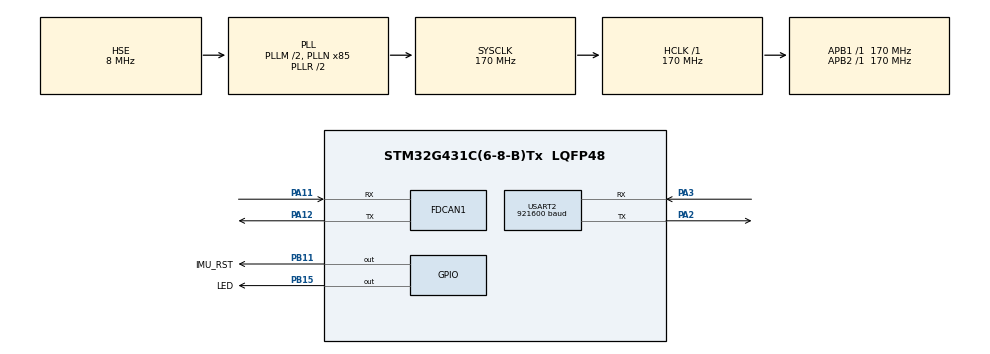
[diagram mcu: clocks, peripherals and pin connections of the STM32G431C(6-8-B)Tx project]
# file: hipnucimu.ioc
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Dma.Request0=USART2_RX
Dma.Request1=USART2_TX
Dma.USART2_RX.0.Direction=DMA_PERIPH_TO_MEMORY
Dma.USART2_RX.0.EventEnable=DISABLE
Dma.USART2_RX.0.Instance=DMA1_Channel1
Dma.USART2_RX.0.MemDataAlignment=DMA_MDATAALIGN_BYTE
Dma.USART2_RX.0.MemInc=DMA_MINC_ENABLE
Dma.USART2_RX.0.Mode=DMA_NORMAL
Dma.USART2_RX.0.PeriphDataAlignment=DMA_PDATAALIGN_BYTE
Dma.USART2_RX.0.PeriphInc=DMA_PINC_DISABLE
Dma.USART2_RX.0.Polarity=HAL_DMAMUX_REQ_GEN_RISING
Dma.USART2_RX.0.Priority=DMA_PRIORITY_VERY_HIGH
Dma.USART2_RX.0.RequestNumber=1
Dma.USART2_RX.0.SignalID=NONE
Dma.USART2_RX.0.SyncEnable=DISABLE
Dma.USART2_RX.0.SyncPolarity=HAL_DMAMUX_SYNC_NO_EVENT
Dma.USART2_RX.0.SyncRequestNumber=1
Dma.USART2_RX.0.SyncSignalID=NONE
Dma.USART2_TX.1.Direction=DMA_MEMORY_TO_PERIPH
Dma.USART2_TX.1.EventEnable=DISABLE
Dma.USART2_TX.1.Instance=DMA1_Channel2
Dma.USART2_TX.1.MemDataAlignment=DMA_MDATAALIGN_BYTE
Dma.USART2_TX.1.MemInc=DMA_MINC_ENABLE
Dma.USART2_TX.1.Mode=DMA_NORMAL
Dma.USART2_TX.1.PeriphDataAlignment=DMA_PDATAALIGN_BYTE
Dma.USART2_TX.1.PeriphInc=DMA_PINC_DISABLE
Dma.USART2_TX.1.Polarity=HAL_DMAMUX_REQ_GEN_RISING
Dma.USART2_TX.1.Priority=DMA_PRIORITY_HIGH
Dma.USART2_TX.1.RequestNumber=1
Dma.USART2_TX.1.SignalID=NONE
Dma.USART2_TX.1.SyncEnable=DISABLE
Dma.USART2_TX.1.SyncPolarity=HAL_DMAMUX_SYNC_NO_EVENT
Dma.USART2_TX.1.SyncRequestNumber=1
Dma.USART2_TX.1.SyncSignalID=NONE
FDCAN1.AutoRetransmission=ENABLE
FDCAN1.CalculateBaudRateNominal=999999
FDCAN1.CalculateTimeBitNominal=1000
FDCAN1.CalculateTimeQuantumNominal=29.411764705882355
FDCAN1.DataPrescaler=5
FDCAN1.DataSyncJumpWidth=8
FDCAN1.DataTimeSeg1=25
FDCAN1.DataTimeSeg2=8
FDCAN1.NominalPrescaler=5
FDCAN1.NominalSyncJumpWidth=8
FDCAN1.NominalTimeSeg1=25
FDCAN1.NominalTimeSeg2=8
FDCAN1.ProtocolException=ENABLE
FDCAN1.StdFiltersNbr=1
Mcu.Family=STM32G4
Mcu.Name=STM32G431C(6-8-B)Tx
Mcu.Package=LQFP48
NVIC.DMA1_Channel1_IRQn=true\:0\:0\:false\:false\:true\:false\:true\:true
NVIC.DMA1_Channel2_IRQn=true\:0\:0\:false\:false\:true\:false\:true\:true
NVIC.FDCAN1_IT0_IRQn=true\:0\:0\:false\:false\:true\:true\:true\:true
NVIC.FDCAN1_IT1_IRQn=true\:0\:0\:false\:false\:true\:true\:true\:true
NVIC.PriorityGroup=NVIC_PRIORITYGROUP_4
NVIC.TIM1_UP_TIM16_IRQn=true\:15\:0\:false\:false\:true\:false\:true\:true
NVIC.TimeBase=TIM1_UP_TIM16_IRQn
NVIC.TimeBaseIP=TIM1
NVIC.USART2_IRQn=true\:0\:0\:false\:false\:true\:false\:true\:true
PA11.Mode=FDCAN_Activate
PA11.Signal=FDCAN1_RX
PA12.Mode=FDCAN_Activate
PA12.Signal=FDCAN1_TX
PA13.Mode=Serial_Wire
PA13.Signal=SYS_JTMS-SWDIO
PA14.Mode=Serial_Wire
PA14.Signal=SYS_JTCK-SWCLK
PA2.Mode=Asynchronous
PA2.Signal=USART2_TX
PA3.Mode=Asynchronous
PA3.Signal=USART2_RX
PB11.GPIO_Label=IMU_RST
PB11.GPIO_Speed=GPIO_SPEED_FREQ_MEDIUM
PB11.PinState=GPIO_PIN_SET
PB11.Signal=GPIO_Output
PB15.GPIO_Label=LED
PB15.PinState=GPIO_PIN_SET
PB15.Signal=GPIO_Output
PF0-OSC_IN.Mode=HSE-External-Oscillator
PF0-OSC_IN.Signal=RCC_OSC_IN
PF1-OSC_OUT.Mode=HSE-External-Oscillator
PF1-OSC_OUT.Signal=RCC_OSC_OUT
ProjectManager.HeapSize=0x400
ProjectManager.StackSize=0x400
ProjectManager.TargetToolchain=STM32CubeIDE
RCC.ADC12Freq_Value=170000000
RCC.AHBFreq_Value=170000000
RCC.APB1Freq_Value=170000000
RCC.APB1TimFreq_Value=170000000
RCC.APB2Freq_Value=170000000
RCC.APB2TimFreq_Value=170000000
RCC.CortexFreq_Value=170000000
RCC.EXTERNAL_CLOCK_VALUE=12288000
RCC.HCLKFreq_Value=170000000
RCC.HSI48_VALUE=48000000
RCC.HSI_VALUE=16000000
RCC.LSE_VALUE=32768
RCC.PLLM=RCC_PLLM_DIV2
RCC.PLLN=85
RCC.PLLSourceVirtual=RCC_PLLSOURCE_HSE
RCC.SYSCLKFreq_VALUE=170000000
RCC.SYSCLKSource=RCC_SYSCLKSOURCE_PLLCLK
RCC.USBFreq_Value=170000000
RCC.VCOOutputFreq_Value=340000000
USART2.BaudRate=921600
USART2.VirtualMode-Asynchronous=VM_ASYNC
VP_SYS_VS_DBSignals.Mode=DisableDeadBatterySignals
VP_SYS_VS_tim1.Mode=TIM1
board=custom

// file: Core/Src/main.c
/* USER CODE BEGIN Header */
/**
  ******************************************************************************
  * @file           : main.c
  * @brief          : Main program body
  ******************************************************************************
  * @attention
  *
  * Copyright (c) 2024 STMicroelectronics.
  * All rights reserved.
  *
  * This software is licensed under terms that can be found in the LICENSE file
  * in the root directory of this software component.
  * If no LICENSE file comes with this software, it is provided AS-IS.
  *
  ******************************************************************************
  */
/* USER CODE END Header */
#include <string.h>
#include "main.h"
#include "dma.h"
#include "fdcan.h"
#include "usart.h"
#include "gpio.h"

/* USER CODE BEGIN PV */
#define PACKET1_CAN_ID 0x07
#define PACKET2_CAN_ID 0x08
#define PACKET3_CAN_ID 0x09
#define PACKET_PERIOD 1
/* USER CODE END PV */

void SystemClock_Config(void);

/* USER CODE BEGIN 0 */

#define U1(p) (*((uint8_t *)(p)))
#define I1(p) (*((int8_t *)(p)))
#define I2(p) (*((int16_t *)(p)))

uint8_t buf[82];
uint32_t last_send_tick = 0;
struct packet_0x01_t packet0X01;
struct packet_0x02_t packet0X02;
struct packet_0x03_t packet0X03;
FDCAN_TxHeaderTypeDef shared_tx_header;
uint8_t shared_tx_data[8];
FDCAN_ProtocolStatusTypeDef status;

void can_filter_init(void) {
    FDCAN_FilterTypeDef can_filter_st;
    can_filter_st.IdType = FDCAN_STANDARD_ID;
    can_filter_st.FilterIndex = 0;
    can_filter_st.FilterType = FDCAN_FILTER_MASK;
    can_filter_st.FilterConfig = FDCAN_FILTER_TO_RXFIFO0;
    can_filter_st.FilterID1 = 0x00000000;
    can_filter_st.FilterID2 = 0x00000000;

    HAL_FDCAN_ConfigFilter(&hfdcan1, &can_filter_st);
    HAL_FDCAN_ConfigGlobalFilter(&hfdcan1, FDCAN_REJECT, FDCAN_REJECT, FDCAN_FILTER_REMOTE, FDCAN_FILTER_REMOTE);
    HAL_FDCAN_ActivateNotification(&hfdcan1, FDCAN_IT_RX_FIFO0_NEW_MESSAGE, 0);
    HAL_FDCAN_Start(&hfdcan1);
}

void send(uint32_t packet_id, int8_t length) {
    shared_tx_header.IdType = FDCAN_STANDARD_ID;
    shared_tx_header.TxFrameType = FDCAN_DATA_FRAME;
    shared_tx_header.DataLength = length;
    shared_tx_header.ErrorStateIndicator = FDCAN_ESI_ACTIVE;
    shared_tx_header.BitRateSwitch = FDCAN_BRS_OFF;
    shared_tx_header.FDFormat = FDCAN_CLASSIC_CAN;
    shared_tx_header.TxEventFifoControl = FDCAN_NO_TX_EVENTS;
    shared_tx_header.MessageMarker = 0;
    shared_tx_header.Identifier = packet_id;

    if (HAL_FDCAN_AddMessageToTxFifoQ(&hfdcan1, &shared_tx_header, shared_tx_data) != HAL_OK) {
        HAL_FDCAN_GetProtocolStatus(&hfdcan1, &status);
        if (status.BusOff) {
            HAL_FDCAN_DeactivateNotification(&hfdcan1, FDCAN_IT_RX_FIFO0_NEW_MESSAGE);
            HAL_FDCAN_DeInit(&hfdcan1);
            MX_FDCAN1_Init();
            can_filter_init();
        }
    }
}

void update_imu() {
    packet0X01.q0 = I2(buf+6+40);
    packet0X01.q1 = I2(buf+6+42);
    packet0X01.q2 = I2(buf+6+44);
    packet0X01.q3 = I2(buf+6+46);

    packet0X02.accx = I2(buf+6+16);
    packet0X02.accy = I2(buf+6+18);
    packet0X02.accz = I2(buf+6+20);
    packet0X02.gyrox = I2(buf+6+10);

    packet0X03.gyroy = I2(buf+6+12);
    packet0X03.gyroz = I2(buf+6+14);
    packet0X03.temperature = I1(buf+6+3);

    if (HAL_GetTick() - last_send_tick >= PACKET_PERIOD) {
        memcpy(shared_tx_data, &packet0X01, 8);
        send(PACKET1_CAN_ID, 8);

        memcpy(shared_tx_data, &packet0X02, 8);
        send(PACKET2_CAN_ID, 8);

        memcpy(shared_tx_data, &packet0X03, 5);
        send(PACKET3_CAN_ID, 5);
    }
    last_send_tick = HAL_GetTick();
}

void HAL_UARTEx_RxEventCallback(UART_HandleTypeDef *huart, uint16_t Size) {
    if (huart->Instance == USART2) {
        if (Size <= 82) {
            HAL_UARTEx_ReceiveToIdle_DMA(&huart2, buf, 82);
            update_imu();
        } else {
            memset(&buf, 0, sizeof(buf));
            HAL_UARTEx_ReceiveToIdle_DMA(&huart2, buf, 82);
        }
    }
}

void HAL_UART_ErrorCallback(UART_HandleTypeDef *huart) {
    if (huart->Instance == USART2) {
        memset(&buf, 0, sizeof(buf));
        HAL_UARTEx_ReceiveToIdle_DMA(&huart2, buf, 82);
    }
}

/* USER CODE END 0 */

int main(void) {

    /* MCU Configuration--------------------------------------------------------*/

    /* Reset of all peripherals, Initializes the Flash interface and the Systick. */
    HAL_Init();

    /* Configure the system clock */
    SystemClock_Config();

    /* Initialize all configured peripherals */
    MX_GPIO_Init();
    MX_DMA_Init();
    MX_FDCAN1_Init();
    MX_USART2_UART_Init();
    /* USER CODE BEGIN 2 */
    can_filter_init();
    HAL_GPIO_WritePin(LED_GPIO_Port, LED_Pin, GPIO_PIN_SET);
    HAL_Delay(300);
    HAL_GPIO_WritePin(IMU_RST_GPIO_Port, IMU_RST_Pin, GPIO_PIN_RESET);
    HAL_Delay(500);
    HAL_UARTEx_ReceiveToIdle_DMA(&huart2, buf, 82);
    HAL_GPIO_WritePin(IMU_RST_GPIO_Port, IMU_RST_Pin, GPIO_PIN_SET);
    HAL_GPIO_WritePin(LED_GPIO_Port, LED_Pin, GPIO_PIN_RESET);
    /* USER CODE END 2 */

    /* Infinite loop */
    while (1) {

        /* USER CODE BEGIN 3 */
        HAL_Delay(2);
    }
    /* USER CODE END 3 */
}

void SystemClock_Config(void) {
    RCC_OscInitTypeDef RCC_OscInitStruct = {0};
    RCC_ClkInitTypeDef RCC_ClkInitStruct = {0};

    /** Configure the main internal regulator output voltage
    */
    HAL_PWREx_ControlVoltageScaling(PWR_REGULATOR_VOLTAGE_SCALE1_BOOST);

    /** Initializes the RCC Oscillators according to the specified parameters
    * in the RCC_OscInitTypeDef structure.
    */
    RCC_OscInitStruct.OscillatorType = RCC_OSCILLATORTYPE_HSE;
    RCC_OscInitStruct.HSEState = RCC_HSE_ON;
    RCC_OscInitStruct.PLL.PLLState = RCC_PLL_ON;
    RCC_OscInitStruct.PLL.PLLSource = RCC_PLLSOURCE_HSE;
    RCC_OscInitStruct.PLL.PLLM = RCC_PLLM_DIV2;
    RCC_OscInitStruct.PLL.PLLN = 85;
    RCC_OscInitStruct.PLL.PLLP = RCC_PLLP_DIV2;
    RCC_OscInitStruct.PLL.PLLQ = RCC_PLLQ_DIV2;
    RCC_OscInitStruct.PLL.PLLR = RCC_PLLR_DIV2;
    if (HAL_RCC_OscConfig(&RCC_OscInitStruct) != HAL_OK) {
        Error_Handler();
    }

    /** Initializes the CPU, AHB and APB buses clocks
    */
    RCC_ClkInitStruct.ClockType = RCC_CLOCKTYPE_HCLK | RCC_CLOCKTYPE_SYSCLK
                                  | RCC_CLOCKTYPE_PCLK1 | RCC_CLOCKTYPE_PCLK2;
    RCC_ClkInitStruct.SYSCLKSource = RCC_SYSCLKSOURCE_PLLCLK;
    RCC_ClkInitStruct.AHBCLKDivider = RCC_SYSCLK_DIV1;
    RCC_ClkInitStruct.APB1CLKDivider = RCC_HCLK_DIV1;
    RCC_ClkInitStruct.APB2CLKDivider = RCC_HCLK_DIV1;

    if (HAL_RCC_ClockConfig(&RCC_ClkInitStruct, FLASH_LATENCY_4) != HAL_OK) {
        Error_Handler();
    }
}

void HAL_TIM_PeriodElapsedCallback(TIM_HandleTypeDef *htim) {
    if (htim->Instance == TIM1) {
        HAL_IncTick();
    }
}

void Error_Handler(void) {
    __disable_irq();
    while (1) {
    }
}
